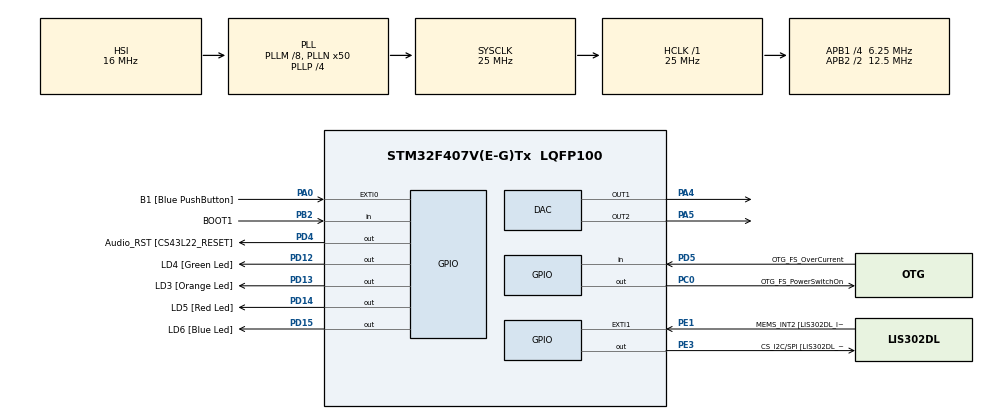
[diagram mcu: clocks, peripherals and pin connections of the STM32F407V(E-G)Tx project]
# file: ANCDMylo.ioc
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Mcu.Family=STM32F4
Mcu.Name=STM32F407V(E-G)Tx
Mcu.Package=LQFP100
NVIC.PriorityGroup=NVIC_PRIORITYGROUP_0
NVIC.TIM2_IRQn=true\:0\:0\:false\:false\:true\:true\:true\:true
PA0-WKUP.GPIO_Label=B1 [Blue PushButton]
PA0-WKUP.Signal=GPXTI0
PA10.GPIO_Label=OTG_FS_ID
PA10.GPIO_Mode=GPIO_MODE_AF_PP
PA10.GPIO_PuPd=GPIO_NOPULL
PA10.GPIO_Speed=GPIO_SPEED_FREQ_LOW
PA10.Signal=USB_OTG_FS_ID
PA11.GPIO_Label=OTG_FS_DM
PA11.GPIO_Mode=GPIO_MODE_AF_PP
PA11.GPIO_PuPd=GPIO_NOPULL
PA11.GPIO_Speed=GPIO_SPEED_FREQ_LOW
PA11.Signal=USB_OTG_FS_DM
PA12.GPIO_Label=OTG_FS_DP
PA12.GPIO_Mode=GPIO_MODE_AF_PP
PA12.GPIO_PuPd=GPIO_NOPULL
PA12.GPIO_Speed=GPIO_SPEED_FREQ_LOW
PA12.Signal=USB_OTG_FS_DP
PA13.GPIO_Label=SWDIO
PA13.Signal=SYS_JTMS-SWDIO
PA14.GPIO_Label=SWCLK
PA14.Signal=SYS_JTCK-SWCLK
PA4.Signal=COMP_DAC1_group
PA5.Signal=COMP_DAC2_group
PA6.GPIO_Label=SPI1_MISO [LIS302DL_SDO]
PA6.GPIO_Mode=GPIO_MODE_AF_PP
PA6.GPIO_PuPd=GPIO_NOPULL
PA6.GPIO_Speed=GPIO_SPEED_FREQ_LOW
PA6.Signal=SPI1_MISO
PA7.GPIO_Label=SPI1_MOSI [LIS302DL_SDA/SDI/SDO]
PA7.GPIO_Mode=GPIO_MODE_AF_PP
PA7.GPIO_PuPd=GPIO_NOPULL
PA7.GPIO_Speed=GPIO_SPEED_FREQ_LOW
PA7.Signal=SPI1_MOSI
PA9.GPIO_Label=VBUS_FS
PA9.GPIO_Mode=GPIO_MODE_INPUT
PA9.GPIO_PuPd=GPIO_NOPULL
PA9.Signal=USB_OTG_FS_VBUS
PB10.GPIO_Label=CLK_IN [MP45DT02_CLK]
PB10.GPIO_Mode=GPIO_MODE_AF_PP
PB10.GPIO_PuPd=GPIO_NOPULL
PB10.GPIO_Speed=GPIO_SPEED_FREQ_LOW
PB10.Signal=I2S2_CK
PB2.GPIO_Label=BOOT1
PB2.GPIO_Mode=GPIO_MODE_INPUT
PB2.GPIO_PuPd=GPIO_NOPULL
PB2.Signal=GPIO_Input
PB3.GPIO_Label=SWO
PB3.Signal=SYS_JTDO-SWO
PB6.GPIO_Label=Audio_SCL [CS43L22_SCL]
PB6.GPIO_Mode=GPIO_MODE_AF_OD
PB6.GPIO_PuPd=GPIO_NOPULL
PB6.GPIO_Speed=GPIO_SPEED_FREQ_LOW
PB6.Signal=I2C1_SCL
PB9.GPIO_Label=Audio_SDA [CS43L22_SDA]
PB9.GPIO_Mode=GPIO_MODE_AF_OD
PB9.GPIO_PuPd=GPIO_NOPULL
PB9.GPIO_Speed=GPIO_SPEED_FREQ_LOW
PB9.Signal=I2C1_SDA
PC0.GPIO_Label=OTG_FS_PowerSwitchOn
PC0.GPIO_PuPd=GPIO_NOPULL
PC0.GPIO_Speed=GPIO_SPEED_FREQ_LOW
PC0.PinState=GPIO_PIN_SET
PC0.Signal=GPIO_Output
PC10.GPIO_Label=I2S3_SCK [CS43L22_SCLK]
PC10.GPIO_Mode=GPIO_MODE_AF_PP
PC10.GPIO_PuPd=GPIO_NOPULL
PC10.GPIO_Speed=GPIO_SPEED_FREQ_LOW
PC10.Signal=I2S3_CK
PC12.GPIO_Label=I2S3_SD [CS43L22_SDIN]
PC12.GPIO_Mode=GPIO_MODE_AF_PP
PC12.GPIO_PuPd=GPIO_NOPULL
PC12.GPIO_Speed=GPIO_SPEED_FREQ_LOW
PC12.Signal=I2S3_SD
PC14-OSC32_IN.GPIO_Label=PC14-OSC32_IN
PC14-OSC32_IN.Signal=RCC_OSC32_IN
PC15-OSC32_OUT.GPIO_Label=PC15-OSC32_OUT
PC15-OSC32_OUT.Signal=RCC_OSC32_OUT
PC3.GPIO_Label=PDM_OUT [MP45DT02_DOUT]
PC3.GPIO_Mode=GPIO_MODE_AF_PP
PC3.GPIO_PuPd=GPIO_NOPULL
PC3.GPIO_Speed=GPIO_SPEED_FREQ_LOW
PC3.Signal=I2S2_SD
PC7.GPIO_Label=I2S3_MCK [CS43L22_MCLK]
PC7.GPIO_Mode=GPIO_MODE_AF_PP
PC7.GPIO_PuPd=GPIO_NOPULL
PC7.GPIO_Speed=GPIO_SPEED_FREQ_LOW
PC7.Signal=I2S3_MCK
PD12.GPIO_Label=LD4 [Green Led]
PD12.GPIO_PuPd=GPIO_NOPULL
PD12.GPIO_Speed=GPIO_SPEED_FREQ_LOW
PD12.Signal=GPIO_Output
PD13.GPIO_Label=LD3 [Orange Led]
PD13.GPIO_PuPd=GPIO_NOPULL
PD13.GPIO_Speed=GPIO_SPEED_FREQ_LOW
PD13.Signal=GPIO_Output
PD14.GPIO_Label=LD5 [Red Led]
PD14.GPIO_PuPd=GPIO_NOPULL
PD14.GPIO_Speed=GPIO_SPEED_FREQ_LOW
PD14.Signal=GPIO_Output
PD15.GPIO_Label=LD6 [Blue Led]
PD15.GPIO_PuPd=GPIO_NOPULL
PD15.GPIO_Speed=GPIO_SPEED_FREQ_LOW
PD15.Signal=GPIO_Output
PD4.GPIO_Label=Audio_RST [CS43L22_RESET]
PD4.GPIO_PuPd=GPIO_NOPULL
PD4.GPIO_Speed=GPIO_SPEED_FREQ_LOW
PD4.Signal=GPIO_Output
PD5.GPIO_Label=OTG_FS_OverCurrent
PD5.GPIO_Mode=GPIO_MODE_INPUT
PD5.GPIO_PuPd=GPIO_NOPULL
PD5.Signal=GPIO_Input
PE1.GPIO_Label=MEMS_INT2 [LIS302DL_INT2]
PE1.GPIO_ModeDefaultEXTI=GPIO_MODE_EVT_RISING
PE1.GPIO_PuPd=GPIO_NOPULL
PE1.Signal=GPXTI1
PE3.GPIO_Label=CS_I2C/SPI [LIS302DL_CS_I2C/SPI]
PE3.GPIO_PuPd=GPIO_NOPULL
PE3.GPIO_Speed=GPIO_SPEED_FREQ_LOW
PE3.Signal=GPIO_Output
PH0-OSC_IN.GPIO_Label=PH0-OSC_IN
PH0-OSC_IN.Signal=RCC_OSC_IN
PH1-OSC_OUT.GPIO_Label=PH1-OSC_OUT
PH1-OSC_OUT.Signal=RCC_OSC_OUT
ProjectManager.HeapSize=0x200
ProjectManager.StackSize=0x400
ProjectManager.TargetToolchain=STM32CubeIDE
RCC.48MHZClocksFreq_Value=14285714.285714285
RCC.AHBFreq_Value=25000000
RCC.APB1CLKDivider=RCC_HCLK_DIV4
RCC.APB1Freq_Value=6250000
RCC.APB1TimFreq_Value=12500000
RCC.APB2CLKDivider=RCC_HCLK_DIV2
RCC.APB2Freq_Value=12500000
RCC.APB2TimFreq_Value=25000000
RCC.CortexFreq_Value=25000000
RCC.HCLKFreq_Value=25000000
RCC.HSE_VALUE=8000000
RCC.HSI_VALUE=16000000
RCC.LSE_VALUE=32768
RCC.PLLM=8
RCC.PLLN=50
RCC.PLLP=RCC_PLLP_DIV4
RCC.PLLQ=7
RCC.SYSCLKFreq_VALUE=25000000
RCC.SYSCLKSource=RCC_SYSCLKSOURCE_PLLCLK
RCC.VCOOutputFreq_Value=100000000
SH.COMP_DAC1_group.0=DAC_OUT1,DAC_OUT1
SH.COMP_DAC2_group.0=DAC_OUT2,DAC_OUT2
TIM2.Period=124
TIM2.Prescaler=83
VP_TIM2_VS_ClockSourceINT.Mode=Internal
board=STM32F407G-DISC1

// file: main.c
/* USER CODE BEGIN Header */
/**
  ******************************************************************************
  * @file           : main.c
  * @brief          : Main program body
  ******************************************************************************
  * @attention
  *
  * Copyright (c) 2026 STMicroelectronics.
  * All rights reserved.
  *
  * This software is licensed under terms that can be found in the LICENSE file
  * in the root directory of this software component.
  * If no LICENSE file comes with this software, it is provided AS-IS.
  *
  ******************************************************************************
  */
/* USER CODE END Header */
#include "main.h"

/* USER CODE BEGIN Includes */
#include "pil_anc.h"
/* USER CODE END Includes */

DAC_HandleTypeDef hdac;

TIM_HandleTypeDef htim2;

/* USER CODE BEGIN PV */

static uint32_t cyc_acc, cyc_n;

/* USER CODE END PV */

void SystemClock_Config(void);
static void MX_GPIO_Init(void);
static void MX_DAC_Init(void);
static void MX_TIM2_Init(void);

int main(void)
{

  /* MCU Configuration--------------------------------------------------------*/

  /* Reset of all peripherals, Initializes the Flash interface and the Systick. */
  HAL_Init();

  /* Configure the system clock */
  SystemClock_Config();

  /* Initialize all configured peripherals */
  MX_GPIO_Init();
  MX_DAC_Init();
  MX_TIM2_Init();
  /* USER CODE BEGIN 2 */
  CoreDebug->DEMCR |= CoreDebug_DEMCR_TRCENA_Msk; // contador de ciclos para medir la carga de CPU
  DWT->CYCCNT = 0;  DWT->CTRL |= DWT_CTRL_CYCCNTENA_Msk;
  HAL_DAC_Start(&hdac, DAC_CHANNEL_1);  HAL_DAC_Start(&hdac, DAC_CHANNEL_2);
  HAL_GPIO_WritePin(GPIOD, GPIO_PIN_13, GPIO_PIN_SET);     // naranja: corriendo el banco (~1 min)
  pil_init();  pil_run_banco();
  HAL_GPIO_WritePin(GPIOD, GPIO_PIN_13, GPIO_PIN_RESET);
  pil_demo_start();  HAL_TIM_Base_Start_IT(&htim2);        // modo demo: tono 500 Hz continuo
  /* USER CODE END 2 */
  /* USER CODE END 2 */

  /* Infinite loop */
  while (1)
  {

    /* USER CODE BEGIN 3 */
	  static uint8_t prev = 0;  uint8_t b = HAL_GPIO_ReadPin(GPIOA, GPIO_PIN_0);
	  if (b && !prev) { pil_anc_on ^= 1;  HAL_Delay(30); } prev = b;   // boton azul: ANC on/off
	  HAL_GPIO_WritePin(GPIOD, GPIO_PIN_12, pil_anc_on ? GPIO_PIN_SET : GPIO_PIN_RESET);
  }
  /* USER CODE END 3 */
}

void SystemClock_Config(void)
{
  RCC_OscInitTypeDef RCC_OscInitStruct = {0};
  RCC_ClkInitTypeDef RCC_ClkInitStruct = {0};

  /** Configure the main internal regulator output voltage
  */
  __HAL_RCC_PWR_CLK_ENABLE();
  __HAL_PWR_VOLTAGESCALING_CONFIG(PWR_REGULATOR_VOLTAGE_SCALE1);

  /** Initializes the RCC Oscillators according to the specified parameters
  * in the RCC_OscInitTypeDef structure.
  */
  RCC_OscInitStruct.OscillatorType = RCC_OSCILLATORTYPE_HSI;
  RCC_OscInitStruct.HSIState = RCC_HSI_ON;
  RCC_OscInitStruct.HSICalibrationValue = RCC_HSICALIBRATION_DEFAULT;
  RCC_OscInitStruct.PLL.PLLState = RCC_PLL_ON;
  RCC_OscInitStruct.PLL.PLLSource = RCC_PLLSOURCE_HSI;
  RCC_OscInitStruct.PLL.PLLM = 8;
  RCC_OscInitStruct.PLL.PLLN = 50;
  RCC_OscInitStruct.PLL.PLLP = RCC_PLLP_DIV4;
  RCC_OscInitStruct.PLL.PLLQ = 7;
  if (HAL_RCC_OscConfig(&RCC_OscInitStruct) != HAL_OK)
  {
    Error_Handler();
  }

  /** Initializes the CPU, AHB and APB buses clocks
  */
  RCC_ClkInitStruct.ClockType = RCC_CLOCKTYPE_HCLK|RCC_CLOCKTYPE_SYSCLK
                              |RCC_CLOCKTYPE_PCLK1|RCC_CLOCKTYPE_PCLK2;
  RCC_ClkInitStruct.SYSCLKSource = RCC_SYSCLKSOURCE_PLLCLK;
  RCC_ClkInitStruct.AHBCLKDivider = RCC_SYSCLK_DIV1;
  RCC_ClkInitStruct.APB1CLKDivider = RCC_HCLK_DIV4;
  RCC_ClkInitStruct.APB2CLKDivider = RCC_HCLK_DIV2;

  if (HAL_RCC_ClockConfig(&RCC_ClkInitStruct, FLASH_LATENCY_0) != HAL_OK)
  {
    Error_Handler();
  }
}

static void MX_DAC_Init(void)
{

  DAC_ChannelConfTypeDef sConfig = {0};

  /** DAC Initialization
  */
  hdac.Instance = DAC;
  if (HAL_DAC_Init(&hdac) != HAL_OK)
  {
    Error_Handler();
  }

  /** DAC channel OUT1 config
  */
  sConfig.DAC_Trigger = DAC_TRIGGER_NONE;
  sConfig.DAC_OutputBuffer = DAC_OUTPUTBUFFER_ENABLE;
  if (HAL_DAC_ConfigChannel(&hdac, &sConfig, DAC_CHANNEL_1) != HAL_OK)
  {
    Error_Handler();
  }

  /** DAC channel OUT2 config
  */
  if (HAL_DAC_ConfigChannel(&hdac, &sConfig, DAC_CHANNEL_2) != HAL_OK)
  {
    Error_Handler();
  }

}

static void MX_TIM2_Init(void)
{

  TIM_ClockConfigTypeDef sClockSourceConfig = {0};
  TIM_MasterConfigTypeDef sMasterConfig = {0};

  htim2.Instance = TIM2;
  htim2.Init.Prescaler = 83;
  htim2.Init.CounterMode = TIM_COUNTERMODE_UP;
  htim2.Init.Period = 124;
  htim2.Init.ClockDivision = TIM_CLOCKDIVISION_DIV1;
  htim2.Init.AutoReloadPreload = TIM_AUTORELOAD_PRELOAD_DISABLE;
  if (HAL_TIM_Base_Init(&htim2) != HAL_OK)
  {
    Error_Handler();
  }
  sClockSourceConfig.ClockSource = TIM_CLOCKSOURCE_INTERNAL;
  if (HAL_TIM_ConfigClockSource(&htim2, &sClockSourceConfig) != HAL_OK)
  {
    Error_Handler();
  }
  sMasterConfig.MasterOutputTrigger = TIM_TRGO_RESET;
  sMasterConfig.MasterSlaveMode = TIM_MASTERSLAVEMODE_DISABLE;
  if (HAL_TIMEx_MasterConfigSynchronization(&htim2, &sMasterConfig) != HAL_OK)
  {
    Error_Handler();
  }

}

static void MX_GPIO_Init(void)
{
  GPIO_InitTypeDef GPIO_InitStruct = {0};

  /* GPIO Ports Clock Enable */
  __HAL_RCC_GPIOE_CLK_ENABLE();
  __HAL_RCC_GPIOC_CLK_ENABLE();
  __HAL_RCC_GPIOH_CLK_ENABLE();
  __HAL_RCC_GPIOA_CLK_ENABLE();
  __HAL_RCC_GPIOB_CLK_ENABLE();
  __HAL_RCC_GPIOD_CLK_ENABLE();

  /*Configure GPIO pin Output Level */
  HAL_GPIO_WritePin(CS_I2C_SPI_GPIO_Port, CS_I2C_SPI_Pin, GPIO_PIN_RESET);

  /*Configure GPIO pin Output Level */
  HAL_GPIO_WritePin(OTG_FS_PowerSwitchOn_GPIO_Port, OTG_FS_PowerSwitchOn_Pin, GPIO_PIN_SET);

  /*Configure GPIO pin Output Level */
  HAL_GPIO_WritePin(GPIOD, LD4_Pin|LD3_Pin|LD5_Pin|LD6_Pin
                          |Audio_RST_Pin, GPIO_PIN_RESET);

  /*Configure GPIO pin : CS_I2C_SPI_Pin */
  GPIO_InitStruct.Pin = CS_I2C_SPI_Pin;
  GPIO_InitStruct.Mode = GPIO_MODE_OUTPUT_PP;
  GPIO_InitStruct.Pull = GPIO_NOPULL;
  GPIO_InitStruct.Speed = GPIO_SPEED_FREQ_LOW;
  HAL_GPIO_Init(CS_I2C_SPI_GPIO_Port, &GPIO_InitStruct);

  /*Configure GPIO pin : OTG_FS_PowerSwitchOn_Pin */
  GPIO_InitStruct.Pin = OTG_FS_PowerSwitchOn_Pin;
  GPIO_InitStruct.Mode = GPIO_MODE_OUTPUT_PP;
  GPIO_InitStruct.Pull = GPIO_NOPULL;
  GPIO_InitStruct.Speed = GPIO_SPEED_FREQ_LOW;
  HAL_GPIO_Init(OTG_FS_PowerSwitchOn_GPIO_Port, &GPIO_InitStruct);

  /*Configure GPIO pin : PDM_OUT_Pin */
  GPIO_InitStruct.Pin = PDM_OUT_Pin;
  GPIO_InitStruct.Mode = GPIO_MODE_AF_PP;
  GPIO_InitStruct.Pull = GPIO_NOPULL;
  GPIO_InitStruct.Speed = GPIO_SPEED_FREQ_LOW;
  GPIO_InitStruct.Alternate = GPIO_AF5_SPI2;
  HAL_GPIO_Init(PDM_OUT_GPIO_Port, &GPIO_InitStruct);

  /*Configure GPIO pin : B1_Pin */
  GPIO_InitStruct.Pin = B1_Pin;
  GPIO_InitStruct.Mode = GPIO_MODE_IT_RISING;
  GPIO_InitStruct.Pull = GPIO_NOPULL;
  HAL_GPIO_Init(B1_GPIO_Port, &GPIO_InitStruct);

  /*Configure GPIO pins : SPI1_MISO_Pin SPI1_MOSI_Pin */
  GPIO_InitStruct.Pin = SPI1_MISO_Pin|SPI1_MOSI_Pin;
  GPIO_InitStruct.Mode = GPIO_MODE_AF_PP;
  GPIO_InitStruct.Pull = GPIO_NOPULL;
  GPIO_InitStruct.Speed = GPIO_SPEED_FREQ_LOW;
  GPIO_InitStruct.Alternate = GPIO_AF5_SPI1;
  HAL_GPIO_Init(GPIOA, &GPIO_InitStruct);

  /*Configure GPIO pin : BOOT1_Pin */
  GPIO_InitStruct.Pin = BOOT1_Pin;
  GPIO_InitStruct.Mode = GPIO_MODE_INPUT;
  GPIO_InitStruct.Pull = GPIO_NOPULL;
  HAL_GPIO_Init(BOOT1_GPIO_Port, &GPIO_InitStruct);

  /*Configure GPIO pin : CLK_IN_Pin */
  GPIO_InitStruct.Pin = CLK_IN_Pin;
  GPIO_InitStruct.Mode = GPIO_MODE_AF_PP;
  GPIO_InitStruct.Pull = GPIO_NOPULL;
  GPIO_InitStruct.Speed = GPIO_SPEED_FREQ_LOW;
  GPIO_InitStruct.Alternate = GPIO_AF5_SPI2;
  HAL_GPIO_Init(CLK_IN_GPIO_Port, &GPIO_InitStruct);

  /*Configure GPIO pins : LD4_Pin LD3_Pin LD5_Pin LD6_Pin
                           Audio_RST_Pin */
  GPIO_InitStruct.Pin = LD4_Pin|LD3_Pin|LD5_Pin|LD6_Pin
                          |Audio_RST_Pin;
  GPIO_InitStruct.Mode = GPIO_MODE_OUTPUT_PP;
  GPIO_InitStruct.Pull = GPIO_NOPULL;
  GPIO_InitStruct.Speed = GPIO_SPEED_FREQ_LOW;
  HAL_GPIO_Init(GPIOD, &GPIO_InitStruct);

  /*Configure GPIO pins : I2S3_MCK_Pin I2S3_SCK_Pin I2S3_SD_Pin */
  GPIO_InitStruct.Pin = I2S3_MCK_Pin|I2S3_SCK_Pin|I2S3_SD_Pin;
  GPIO_InitStruct.Mode = GPIO_MODE_AF_PP;
  GPIO_InitStruct.Pull = GPIO_NOPULL;
  GPIO_InitStruct.Speed = GPIO_SPEED_FREQ_LOW;
  GPIO_InitStruct.Alternate = GPIO_AF6_SPI3;
  HAL_GPIO_Init(GPIOC, &GPIO_InitStruct);

  /*Configure GPIO pin : VBUS_FS_Pin */
  GPIO_InitStruct.Pin = VBUS_FS_Pin;
  GPIO_InitStruct.Mode = GPIO_MODE_INPUT;
  GPIO_InitStruct.Pull = GPIO_NOPULL;
  HAL_GPIO_Init(VBUS_FS_GPIO_Port, &GPIO_InitStruct);

  /*Configure GPIO pins : OTG_FS_ID_Pin OTG_FS_DM_Pin OTG_FS_DP_Pin */
  GPIO_InitStruct.Pin = OTG_FS_ID_Pin|OTG_FS_DM_Pin|OTG_FS_DP_Pin;
  GPIO_InitStruct.Mode = GPIO_MODE_AF_PP;
  GPIO_InitStruct.Pull = GPIO_NOPULL;
  GPIO_InitStruct.Speed = GPIO_SPEED_FREQ_LOW;
  GPIO_InitStruct.Alternate = GPIO_AF10_OTG_FS;
  HAL_GPIO_Init(GPIOA, &GPIO_InitStruct);

  /*Configure GPIO pin : OTG_FS_OverCurrent_Pin */
  GPIO_InitStruct.Pin = OTG_FS_OverCurrent_Pin;
  GPIO_InitStruct.Mode = GPIO_MODE_INPUT;
  GPIO_InitStruct.Pull = GPIO_NOPULL;
  HAL_GPIO_Init(OTG_FS_OverCurrent_GPIO_Port, &GPIO_InitStruct);

  /*Configure GPIO pins : Audio_SCL_Pin Audio_SDA_Pin */
  GPIO_InitStruct.Pin = Audio_SCL_Pin|Audio_SDA_Pin;
  GPIO_InitStruct.Mode = GPIO_MODE_AF_OD;
  GPIO_InitStruct.Pull = GPIO_NOPULL;
  GPIO_InitStruct.Speed = GPIO_SPEED_FREQ_LOW;
  GPIO_InitStruct.Alternate = GPIO_AF4_I2C1;
  HAL_GPIO_Init(GPIOB, &GPIO_InitStruct);

  /*Configure GPIO pin : MEMS_INT2_Pin */
  GPIO_InitStruct.Pin = MEMS_INT2_Pin;
  GPIO_InitStruct.Mode = GPIO_MODE_EVT_RISING;
  GPIO_InitStruct.Pull = GPIO_NOPULL;
  HAL_GPIO_Init(MEMS_INT2_GPIO_Port, &GPIO_InitStruct);

}

/* USER CODE BEGIN 4 */
void pil_wait_done(volatile int *f){
  HAL_TIM_Base_Start_IT(&htim2);  while(!*f){}  HAL_TIM_Base_Stop_IT(&htim2);
}
void HAL_TIM_PeriodElapsedCallback(TIM_HandleTypeDef *htim){
  if (htim->Instance == TIM2) {                 // se ejecuta a 8 kHz
    uint32_t t0 = DWT->CYCCNT;
    pil_step();
    uint32_t c = DWT->CYCCNT - t0;
    if (c > cyc_max) cyc_max = c;
    cyc_acc += c;  cyc_n++;  cyc_avg = cyc_acc / cyc_n;
    DAC->DHR12R1 = (uint32_t)(2048.0f + 1000.0f*pil_d_out);   // CH1 del osciloscopio: d(n)
    DAC->DHR12R2 = (uint32_t)(2048.0f + 1000.0f*pil_e_out);   // CH2: e(n)
  }
}
/* USER CODE END 4 */

void Error_Handler(void)
{
  __disable_irq();
  while (1)
  {
  }
}
